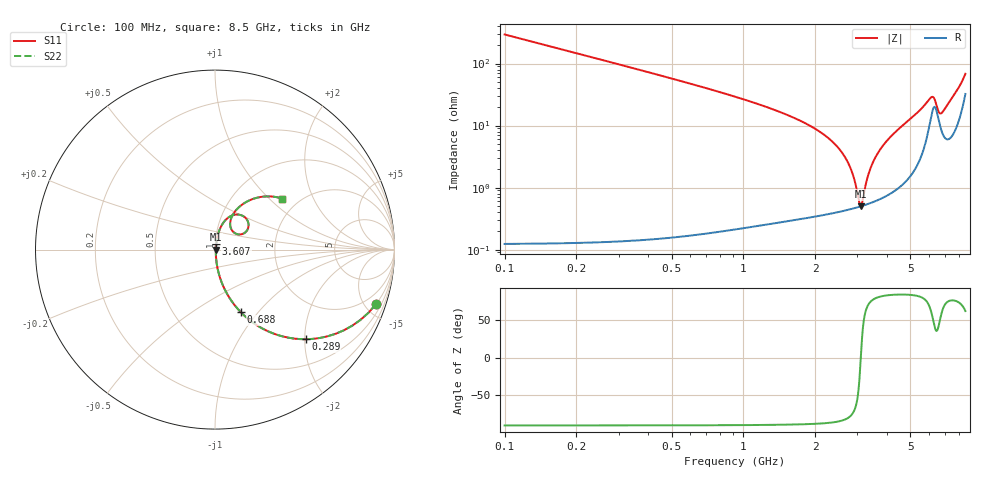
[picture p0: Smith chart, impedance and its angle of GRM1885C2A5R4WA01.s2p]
!Murata Part Number: GRM1885C2A5R4WA01
!These Parameters are Measured in Series Mode Connection
!Data Generated on Mar 30, 2021
!  o--ll--o
!Port1  Port2
!  o------o
!Operation Temp=25[degC], DC Bias Voltage=0[V]
!Freq. Start=100[MHz] Stop=9[GHz] 401[Steps]
# Hz S RI R 50
!Freq.(Hz) S11(Real) S11(Imag) S21(Real) S21(Imag) S12(Real) S12(Imag) S22(Real) S22(Imag)
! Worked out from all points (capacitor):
!   401 points, 100 MHz to 8.5 GHz, reference 50 ohm
!   read as one part in series: C = 5.4 pF near 142 MHz
!   lowest |Z| = 500 mohm at 3.103 GHz (marker M1)
!   series resonance near 3.1 GHz, so ESL is about 490 pH
!   S11 on the Smith chart (normalised r, x): 100 MHz: 1.00, -5.89; 289 MHz: 1.00, -2.02; 688 MHz: 1.00, -0.82; 3.607 GHz: 1.01, +0.06; 8.5 GHz: 1.65, +1.20
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1e8  0.8965 -0.3044  0.1035 0.3044  0.1035 0.3044  0.8965 -0.3044
2.05e8  0.6719 -0.4691  0.3281 0.4691  0.3281 0.4691  0.6719 -0.4691
2.89e8  0.5056 -0.4993  0.4944 0.4993  0.4944 0.4993  0.5056 -0.4993
4.57e8  0.2855 -0.4504  0.7145 0.4504  0.7145 0.4504  0.2855 -0.4504
6.88e8  0.1439 -0.3488  0.8561 0.3488  0.8561 0.3488  0.1439 -0.3488
1.507e9  0.0251 -0.1473  0.9749 0.1473  0.9749 0.1473  0.0251 -0.1473
2.452e9  0.00614 -0.0466  0.9939 0.0466  0.9939 0.0466  0.00614 -0.0466
2.725e9  0.00501 -0.0259  0.995 0.0259  0.995 0.0259  0.00501 -0.0259
2.914e9  0.00479 -0.0125  0.9952 0.0125  0.9952 0.0125  0.00479 -0.0125
3.061e9  0.0049 -0.00261  0.9951 0.00261  0.9951 0.00261  0.0049 -0.00261
3.103e9  0.00497 0.000166  0.995 -0.000166  0.995 -0.000166  0.00497 0.000166
3.355e9  0.00576 0.0164  0.9942 -0.0164  0.9942 -0.0164  0.00576 0.0164
3.607e9  0.00715 0.0321  0.9929 -0.0321  0.9929 -0.0321  0.00715 0.0321
3.901e9  0.00956 0.0501  0.9904 -0.0501  0.9904 -0.0501  0.00956 0.0501
4.3e9  0.0144 0.0747  0.9856 -0.0747  0.9856 -0.0747  0.0144 0.0747
5.707e9  0.0773 0.1806  0.9227 -0.1806  0.9227 -0.1806  0.0773 0.1806
6.19e9  0.1799 0.1637  0.8201 -0.1637  0.8201 -0.1637  0.1799 0.1637
6.442e9  0.1546 0.0876  0.8454 -0.0876  0.8454 -0.0876  0.1546 0.0876
6.673e9  0.0995 0.101  0.9005 -0.101  0.9005 -0.101  0.0995 0.101
7.114e9  0.0895 0.173  0.9105 -0.173  0.9105 -0.173  0.0895 0.173
7.87e9  0.1822 0.2698  0.8178 -0.2698  0.8178 -0.2698  0.1822 0.2698
8.5e9  0.3738 0.2846  0.6262 -0.2846  0.6262 -0.2846  0.3738 0.2846
